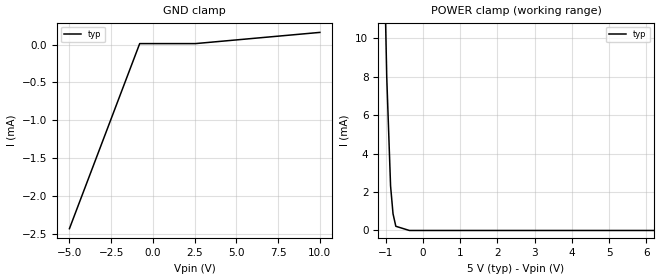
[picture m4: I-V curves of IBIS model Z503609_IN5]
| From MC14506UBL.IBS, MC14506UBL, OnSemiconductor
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| (C) COPYRIGHT 1993-2000
| MENTOR GRAPHICS CORPORATION
| ICX STANDARD LIBRARY, ICX PROJECT MODELING,
| ICX CUSTOM MODELING, ICX VENDOR MODEL
| ALL RIGHTS RESERVED.
| THE FOLLOWING ARE TRADEMARKS OR SERVICE MARKS OF
| MENTOR GRAPHICS CORPORATION:ICX (R), ICX STANDARD
| LIBRARY(R), ICX PROJECT MODELING(R), ICX CUSTOM
| MODELING(R), qualityIBIS(TM), MODELVIEWER(TM),
| AND MODELEDITOR(TM)
| ALL COPIES OF SOFTWARE, INCLUDING BUT NOT LIMITED TO
| ANY MODIFICATIONS, ENHANCEMENTS OR DERIVATIVE WORKS,
| MUST CONTAIN ALL MENTOR GRAPHICS CORPORATION'S
| NOTICES AND LEGENDS, INCLUDING THOSE EMBEDDED IN
| SOFTWARE AND THOSE AFFIXED TO SOFTWARE MEDIUM
| AND CONTAINER, AS RECEIVED FROM MENTOR GRAPHICS
| CORPORATION.
| Model Application Version 1.89 2/18/99.
[Model] Z503609_IN5
Model_type Input
Vinl = 1.500V
Vinh = 3.500V
C_comp 4.000pF NA NA
| variable typ   min   max
[Voltage Range] 5.000V NA NA
[GND Clamp Reference] 0.000V NA NA
[POWER Clamp Reference] 5.000V NA NA
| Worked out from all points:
|   POWER clamp passes 1 mA (typ) near -0.81 V on its own axis
[GND Clamp]
-5V       -2.43mA    NA         NA
-791.5mV  13.13uA    NA         NA
2.551V    13.13uA    NA         NA
10V       160.9uA    NA         NA
[POWER Clamp]
-5V       526.2mA    NA         NA
-1.055V   15.7mA     NA         NA
-972mV    8.005mA    NA         NA
-869mV    2.321mA    NA         NA
-803mV    870.2uA    NA         NA
-728mV    218.3uA    NA         NA
-364mV    0A         NA         NA
10V       0A         NA         NA
